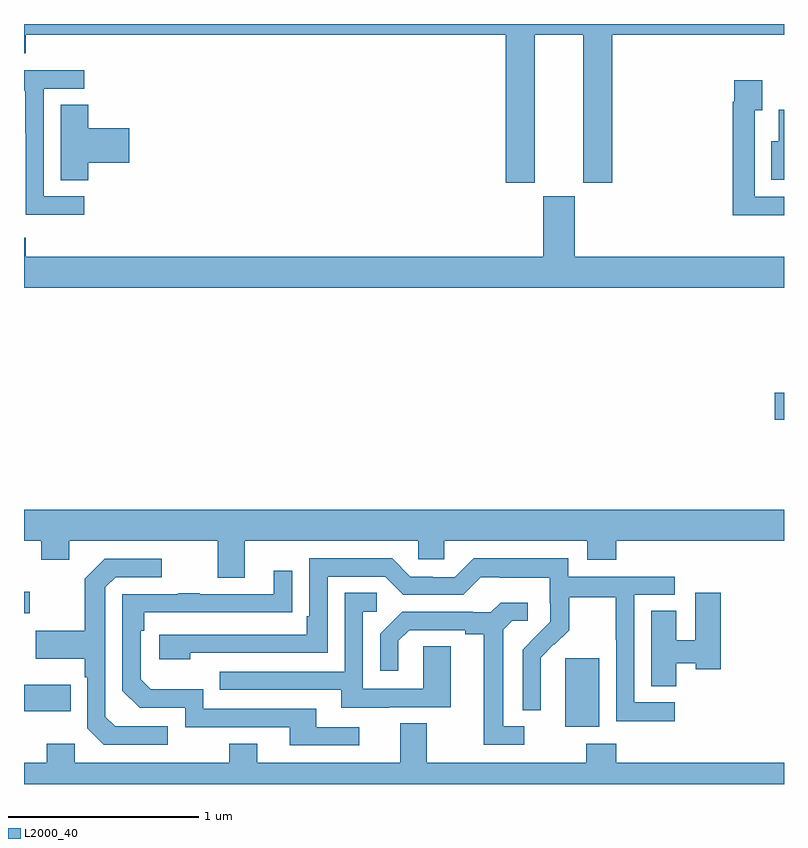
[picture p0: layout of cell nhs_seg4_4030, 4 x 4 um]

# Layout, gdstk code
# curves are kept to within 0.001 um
import gdstk
lib = gdstk.Library(unit=1e-6, precision=1e-09)
def R(c, l, rs):  # rectangles x0, y0, x1, y1
    for r in rs: c.add(gdstk.rectangle(r[:2], r[2:], *l))
def P(c, l, *ps):  # polygons
    for p in ps: c.add(gdstk.Polygon(p, *l))
L2000_40 = (2000, 40)

nhs_seg4_4030 = lib.new_cell('nhs_seg4_4030')
R(nhs_seg4_4030, L2000_40, [(327.848,769.202,328.027,769.563), (325,769.283,325.247,769.423), (325,769.799,325.03,769.912), (328.95,770.818,329,770.96)])
P(nhs_seg4_4030, L2000_40, [(325,772.745),(325.01,772.745),(325.01,772.844),(327.536,772.844),(327.536,772.065),(327.688,772.065),(327.688,772.844),(327.944,772.844),(327.944,772.065),(328.097,772.065),(328.097,772.844),(329,772.844),(329,772.9),(325,772.9)],
  [(325.318,771.993),(325.104,771.993),(325.104,772.56),(325.318,772.56),(325.318,772.656),(325,772.656),(325,772.548),(325.006,772.548),(325.006,772.324),(325.008,772.324),(325.008,771.895),(325.318,771.895)],
  [(329,771.99),(328.845,771.99),(328.845,772.447),(328.885,772.447),(328.885,772.603),(328.737,772.603),(328.737,772.49),(328.729,772.49),(328.729,771.893),(329,771.893)],
  [(325.337,772.169),(325.555,772.169),(325.555,772.352),(325.337,772.352),(325.337,772.475),(325.193,772.475),(325.193,772.078),(325.337,772.078)],
  [(329,772.45),(328.973,772.45),(328.973,772.282),(328.934,772.282),(328.934,772.079),(329,772.079)],
  [(329,771.676),(327.898,771.676),(327.898,771.993),(327.734,771.993),(327.734,771.676),(325.01,771.676),(325.01,771.775),(325,771.775),(325,771.512),(329,771.512)],
  [(325,770.18),(325.09,770.18),(325.09,770.081),(325.237,770.081),(325.237,770.18),(326.021,770.18),(326.021,769.986),(326.161,769.986),(326.161,770.18),(327.075,770.18),(327.075,770.082),(327.213,770.082),(327.213,770.18),(327.965,770.18),(327.965,770.081),(328.118,770.081),(328.118,770.18),(329,770.18),(329,770.344),(325,770.344)],
  [(328.426,769.329),(328.212,769.329),(328.212,769.896),(328.426,769.896),(328.426,769.992),(327.864,769.992),(327.864,770.089),(327.367,770.089),(327.267,769.989),(327.152,769.989),(327.152,769.992),(327.033,769.992),(326.937,770.088),(326.502,770.088),(326.502,769.783),(326.489,769.783),(326.489,769.686),(325.713,769.686),(325.713,769.556),(325.874,769.556),(325.874,769.59),(326.598,769.59),(326.598,769.992),(326.901,769.992),(326.997,769.896),(327.312,769.896),(327.405,769.989),(327.505,769.989),(327.505,769.985),(327.768,769.985),(327.768,769.851),(327.77,769.851),(327.77,769.754),(327.624,769.606),(327.624,769.288),(327.72,769.288),(327.719,769.565),(327.789,769.635),(327.792,769.632),(327.869,769.709),(327.869,769.884),(328.114,769.884),(328.114,769.66),(328.116,769.66),(328.116,769.231),(328.426,769.231)],
  [(325.756,769.203),(325.479,769.203),(325.428,769.254),(325.428,769.935),(325.482,769.989),(325.726,769.989),(325.726,770.085),(325.425,770.085),(325.32,769.979),(325.32,769.707),(325.063,769.707),(325.063,769.559),(325.32,769.559),(325.32,769.463),(325.332,769.463),(325.332,769.194),(325.419,769.107),(325.756,769.107)],
  [(326.764,769.2),(326.539,769.2),(326.539,769.296),(325.944,769.296),(325.944,769.399),(325.667,769.399),(325.614,769.452),(325.614,769.706),(325.634,769.706),(325.634,769.803),(326.411,769.804),(326.411,770.023),(326.315,770.023),(326.315,769.899),(325.925,769.899),(325.925,769.904),(325.813,769.904),(325.813,769.899),(325.518,769.899),(325.518,769.392),(325.608,769.302),(325.848,769.302),(325.848,769.2),(326.399,769.2),(326.399,769.104),(326.764,769.104)],
  [(326.923,769.305),(327.247,769.305),(327.247,769.625),(327.102,769.625),(327.102,769.401),(326.784,769.401),(326.784,769.806),(326.857,769.806),(326.857,769.907),(326.688,769.907),(326.688,769.491),(326.029,769.491),(326.029,769.395),(326.669,769.395),(326.669,769.301),(326.923,769.301)],
  [(328.432,769.535),(328.536,769.535),(328.536,769.505),(328.667,769.505),(328.667,769.906),(328.532,769.906),(328.532,769.657),(328.432,769.657),(328.432,769.811),(328.301,769.811),(328.301,769.414),(328.432,769.414)],
  [(327.634,769.203),(327.523,769.203),(327.523,769.711),(327.57,769.758),(327.652,769.758),(327.652,769.855),(327.508,769.855),(327.456,769.803),(327.362,769.803),(327.362,769.806),(326.99,769.806),(326.874,769.69),(326.874,769.497),(326.971,769.497),(326.971,769.653),(327.028,769.71),(327.323,769.71),(327.323,769.688),(327.419,769.688),(327.419,769.107),(327.634,769.107)],
  [(329,769.012),(328.118,769.012),(328.118,769.111),(327.958,769.111),(327.958,769.012),(327.121,769.012),(327.121,769.22),(326.981,769.22),(326.981,769.012),(326.227,769.012),(326.227,769.111),(326.08,769.111),(326.08,769.012),(325.266,769.012),(325.266,769.111),(325.12,769.111),(325.12,769.012),(325,769.012),(325,768.9),(329,768.9)])

lib.write_gds('nhs_seg4_4030.gds')
